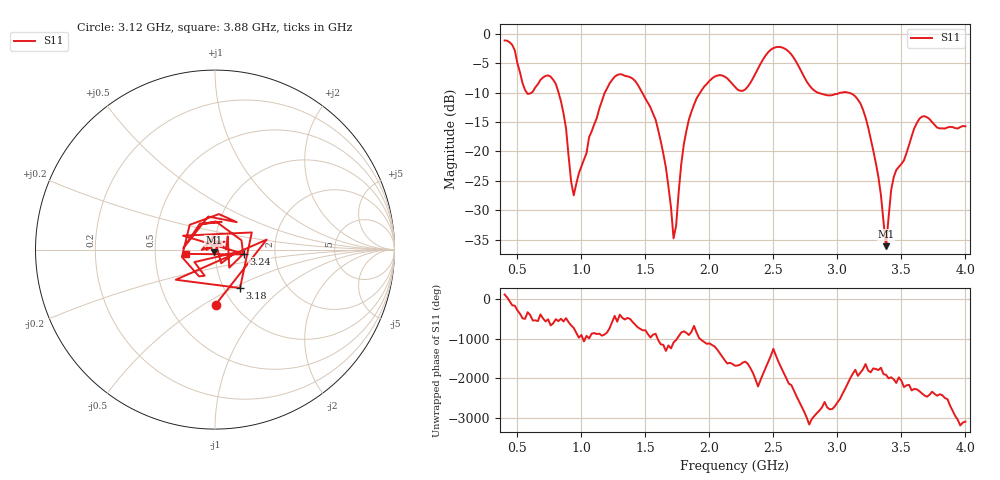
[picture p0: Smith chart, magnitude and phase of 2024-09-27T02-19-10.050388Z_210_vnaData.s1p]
!Created with skrf (http://scikit-rf.org).
# Hz S RI R 50.0
!freq ReS11 ImS11
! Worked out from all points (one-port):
!   181 points, 400 MHz to 4 GHz, reference 50 ohm
!   lowest |S11| = -36.1 dB at 3.38 GHz (marker M1), VSWR 1.03, Z = 49.3 - j1.4 ohm
!   |S11| at or under -10 dB: 821.4 MHz to 1.183 GHz (361.8 MHz wide, 36.1 % of centre); 1.475 GHz to 1.928 GHz (453.1 MHz wide, 26.6 % of centre); 3.082 GHz to end of sweep (the widest 3 of 5)
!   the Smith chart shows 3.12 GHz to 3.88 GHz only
!   S11 on the Smith chart (normalised r, x): 3.12 GHz: 0.84, -0.56; 3.18 GHz: 1.19, -0.54; 3.24 GHz: 1.38, -0.07; 3.88 GHz: 0.72, -0.04
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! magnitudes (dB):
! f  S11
! 400 MHz  -1.1
! 580 MHz  -10.2
! 760 MHz  -7.3
! 860 MHz  -13.5
! 940 MHz  -27.5
! 1.18 GHz  -10.1
! 1.3 GHz  -6.9
! 1.58 GHz  -14.6
! 1.66 GHz  -22.7
! 1.72 GHz  -34.8
! 1.76 GHz  -26.9
! 1.82 GHz  -16.5
! 1.9 GHz  -11.0
! 2.2 GHz  -9.0
! 2.5 GHz  -2.4
! 2.66 GHz  -4.1
! 2.84 GHz  -10.0
! 3.1 GHz  -10.1
! 3.12 GHz  -10.3
! 3.18 GHz  -11.8
! 3.24 GHz  -15.9
! 3.32 GHz  -24.3
! 3.38 GHz  -36.1
! 3.44 GHz  -24.4
! 3.56 GHz  -18.9
! 3.66 GHz  -14.1
! 3.88 GHz  -15.8
! 4 GHz  -15.7
